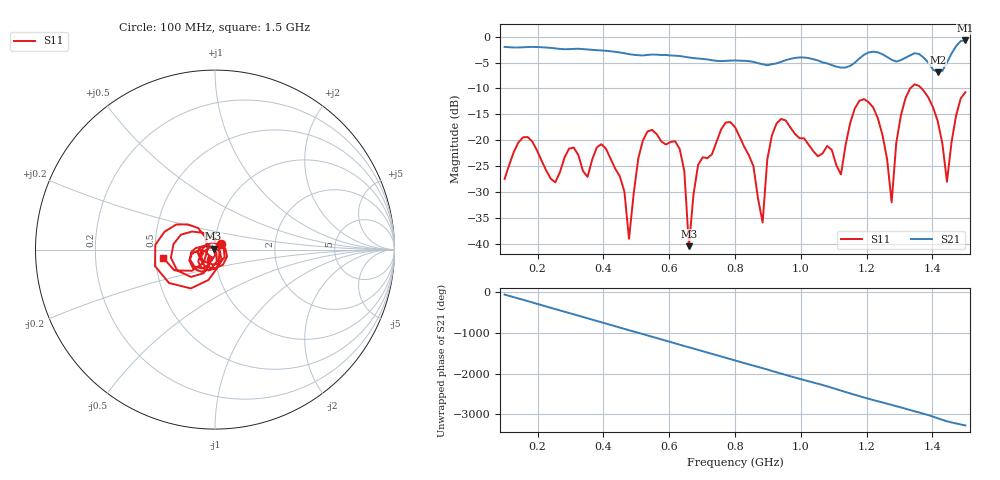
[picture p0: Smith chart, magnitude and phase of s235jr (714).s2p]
! NanoVNA-App
! Date: 2025-09-25 15:09:43
! Start: 100MHz Stop: 1,5GHz Points: 101
! S-Parameter data: F S11 S21 S12 S22
# Hz S RI R 50
!  Frequency  S11_Real  S11_Imag  S21_Real  S21_Imag  S12_Real  S12_Imag  S22_Real  S22_Imag
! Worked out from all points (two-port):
!   101 points, 100 MHz to 1.5 GHz, reference 50 ohm
!   highest |S21| = -0.73 dB at 1.5 GHz (marker M1); lowest = -6.8 dB at 1.416 GHz (marker M2)
!   |S21| within 3 dB of the highest: start of sweep to 629.9 MHz; 1.187 GHz to 1.257 GHz (69.79 MHz wide, 5.71 % of centre) (the widest 2 of 4)
!   lowest |S11| = -40.5 dB at 660 MHz (marker M3), VSWR 1.02, Z = 49.2 + j0.539 ohm
!   |S11| at or under -10 dB: start of sweep to 1.332 GHz; 1.367 GHz to end of sweep
!   S12 and S22 are empty: the file has one direction only
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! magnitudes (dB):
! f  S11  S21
! 100 MHz  -27.5  -2.0
! 156 MHz  -19.4  -2.0
! 338 MHz  -25.9  -2.4
! 408 MHz  -21.6  -2.7
! 478 MHz  -39.0  -3.4
! 520 MHz  -20.1  -3.6
! 576 MHz  -20.2  -3.5
! 632 MHz  -21.7  -3.7
! 660 MHz  -40.5  -4.0
! 688 MHz  -24.7  -4.2
! 800 MHz  -17.5  -4.6
! 884 MHz  -35.9  -5.3
! 926 MHz  -16.8  -5.1
! 1.038 GHz  -22.1  -4.3
! 1.122 GHz  -26.6  -6.0
! 1.192 GHz  -12.0  -3.5
! 1.248 GHz  -19.0  -3.4
! 1.276 GHz  -32.0  -4.5
! 1.332 GHz  -10.0  -3.6
! 1.416 GHz  -16.3  -6.8
! 1.444 GHz  -28.0  -5.0
! 1.5 GHz  -10.7  -0.7
